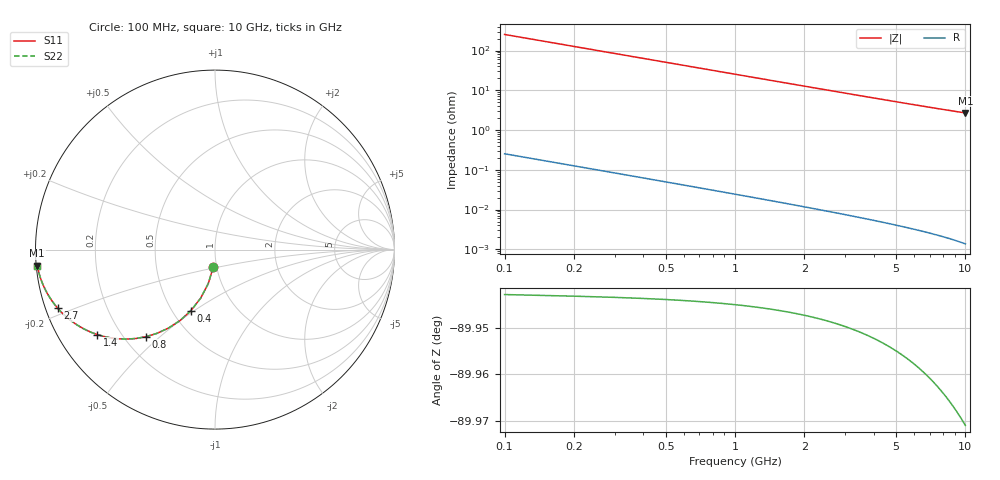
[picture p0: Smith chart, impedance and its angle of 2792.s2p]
# Hz S RI R 50.00
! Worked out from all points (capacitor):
!   100 points, 100 MHz to 10 GHz, reference 50 ohm
!   read as one part in shunt: C = 6.27 pF near 100 MHz
!   lowest |Z| = 2.7 ohm at 10 GHz (marker M1)
!   S11 on the Smith chart (normalised r, x): 100 MHz: 0.96, -0.19; 400 MHz: 0.62, -0.49; 800 MHz: 0.29, -0.45; 1.4 GHz: 0.12, -0.32; 2.7 GHz: 0.03, -0.18; 10 GHz: 0.00, -0.05
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1e8  -0.00965 -0.0975  0.9902 -0.0976  0.9902 -0.0976  -0.00965 -0.0975
2e8  -0.0375 -0.1894  0.9624 -0.1898  0.9624 -0.1898  -0.0375 -0.1894
3e8  -0.0805 -0.2714  0.9194 -0.2719  0.9194 -0.2719  -0.0805 -0.2714
4e8  -0.1346 -0.3405  0.8653 -0.3412  0.8653 -0.3412  -0.1346 -0.3405
5e8  -0.1954 -0.3957  0.8044 -0.3965  0.8044 -0.3965  -0.1954 -0.3957
6e8  -0.2591 -0.4372  0.7408 -0.4382  0.7408 -0.4382  -0.2591 -0.4372
7e8  -0.3224 -0.4663  0.6775 -0.4675  0.6775 -0.4675  -0.3224 -0.4663
8e8  -0.3832 -0.485  0.6167 -0.4863  0.6167 -0.4863  -0.3832 -0.485
9e8  -0.4402 -0.4952  0.5597 -0.4967  0.5597 -0.4967  -0.4402 -0.4952
1.1e9  -0.54 -0.497  0.4598 -0.4988  0.4598 -0.4988  -0.54 -0.497
1.2e9  -0.5828 -0.4916  0.4171 -0.4936  0.4171 -0.4936  -0.5828 -0.4916
1.4e9  -0.6553 -0.4736  0.3446 -0.4759  0.3446 -0.4759  -0.6553 -0.4736
1.6e9  -0.7129 -0.4506  0.287 -0.4532  0.287 -0.4532  -0.7129 -0.4506
1.8e9  -0.7586 -0.4259  0.2413 -0.4289  0.2413 -0.4289  -0.7586 -0.4259
2.2e9  -0.8243 -0.3781  0.1755 -0.3818  0.1755 -0.3818  -0.8243 -0.3781
2.7e9  -0.8761 -0.3267  0.1238 -0.3312  0.1238 -0.3312  -0.8761 -0.3267
3.4e9  -0.9181 -0.2707  0.0817 -0.2764  0.0817 -0.2764  -0.9181 -0.2707
4.2e9  -0.9448 -0.2241  0.055 -0.2311  0.055 -0.2311  -0.9448 -0.2241
5.1e9  -0.962 -0.1863  0.0379 -0.1948  0.0379 -0.1948  -0.962 -0.1863
6.7e9  -0.9777 -0.1411  0.0221 -0.1525  0.0221 -0.1525  -0.9777 -0.1411
8.4e9  -0.9858 -0.1102  0.014 -0.1245  0.014 -0.1245  -0.9858 -0.1102
1e10  -0.99 -0.0896  0.00973 -0.1069  0.00973 -0.1069  -0.99 -0.0896
